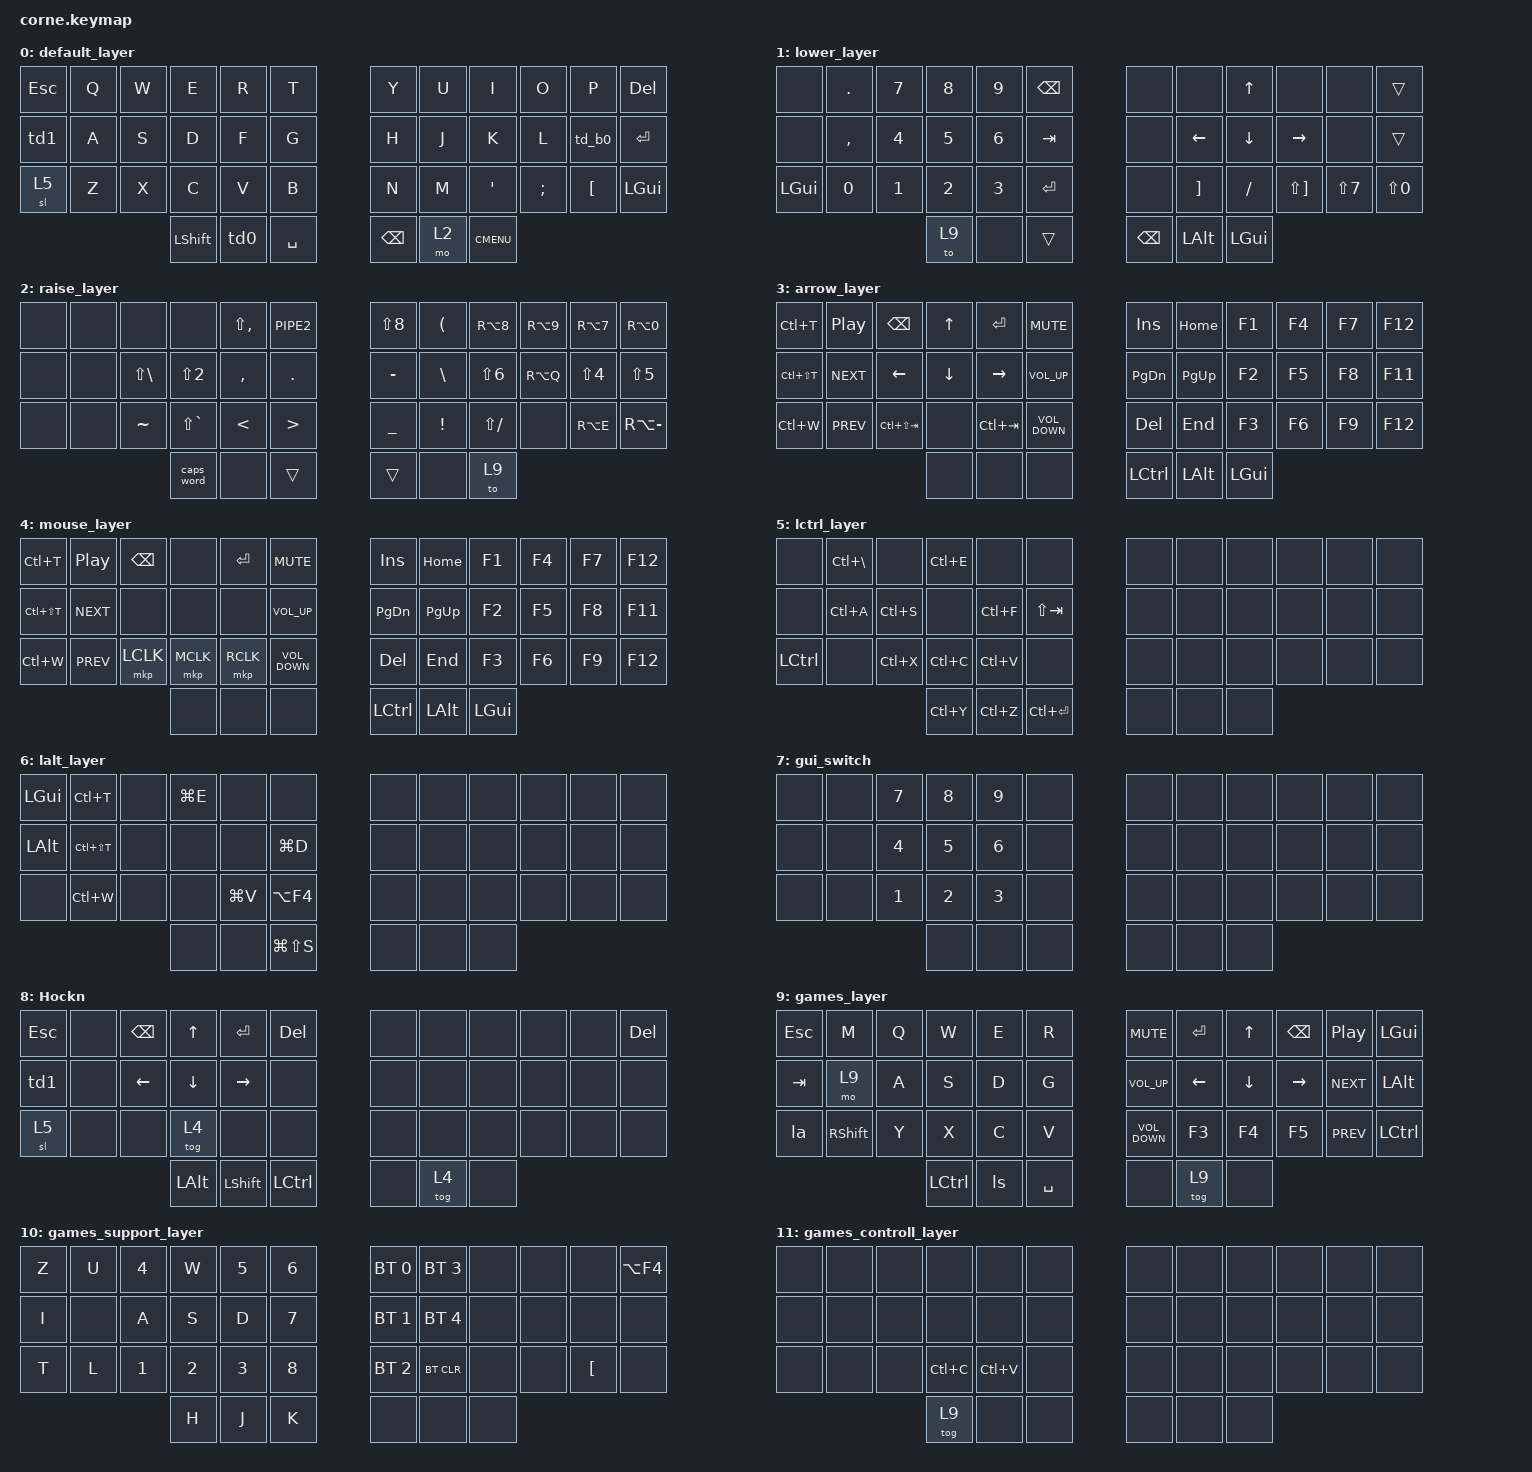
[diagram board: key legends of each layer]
#define default_layer		0
#define lower_layer		1
#define raise_layer		2
#define arrow_layer		3
#define mouse_layer		4
#define lctrl_layer		5
#define gui_switch		6
#define lalt_layer		7
#define hockn 			8
#define games_layer		9
#define games_support_layer	10
#define games_controll_layer	11

/*
 * Copyright (c) 2020 The ZMK Contributors
 *
 * SPDX-License-Identifier: MIT
 */

#include <behaviors.dtsi>
#include <dt-bindings/zmk/mouse.h>
#include <dt-bindings/zmk/bt.h>

// Ideen
// -----



// ---------------------------------------------------------------------------------------------------
// ---------------------------------------------------------------------------------------------------



&sl {
    release-after-ms = <200>;
};



// ---------------------------------------------------------------------------------------------------   



// ---------------------------------------------------------------------------------------------------
	
/ {
    macros {
        ws: window_swich_macro {
            compatible = "zmk,behavior-macro";
            #binding-cells = <0>;
            bindings =    <&macro_press &mo 7 &kp LGUI &kp ESC>
    			, <&macro_pause_for_release>
    			, <&macro_release &mo 7 &kp LGUI &kp ESC>;
        };

        la: layer_lalt_macro {
            compatible = "zmk,behavior-macro";
            #binding-cells = <0>;
            bindings =    <&macro_press &mo 11 &kp LALT>
    			, <&macro_pause_for_release>
    			, <&macro_release &mo 11 &kp LALT>;
        };

        ls: layer_lshift_macro {
            compatible = "zmk,behavior-macro";
            #binding-cells = <0>;
            bindings =    <&macro_press &mo 11 &kp LSHFT>
    			, <&macro_pause_for_release>
    			, <&macro_release &mo 11 &kp LSHFT>;
        };
     };
  };

// ---------------------------------------------------------------------------------------------------
// ---------------------------------------------------------------------------------------------------

/ {
    behaviors {
        td0: middle_button_0 {
            compatible = "zmk,behavior-tap-dance";
            #binding-cells = <0>;
            tapping-term-ms = <200>;
            bindings = <&mo 1>, <&mo 3>, <&to 8>;
        		  };

        td1: window_switch_lalt_1 {
            compatible = "zmk,behavior-tap-dance";
            #binding-cells = <0>;
            tapping-term-ms = <200>;
            bindings = <&ws>, <&sl 6>;
        		  };

        td_b0: swich_bluetooth0 {
            compatible = "zmk,behavior-tap-dance";
            #binding-cells = <0>;
            tapping-term-ms = <200>;
            bindings = <&bt BT_SEL 0>, <&bt BT_SEL 1>, <&bt BT_SEL 2>, <&bt BT_SEL 3>;
        			     };
     		};
  };

// ---------------------------------------------------------------------------------------------------
// ---------------------------------------------------------------------------------------------------

/ {
        
	keymap {
// 0
                compatible = "zmk,keymap";  

                default_layer {
// ---------------------------------------------------------------------------------------------------
// 	|  ESC |  Q  |  W  |  E  |   R  |  T  |   	|  Z   |  U   |  I  |  O  |  P  | DEL  |
// 	| SL 6 |  A  |  S  |  D  |   F  |  G  |   	|  H   |  J   |  K  |  L  | --- | RET  |
// 	| SL 8 |  Y  |  X  |  C  |   V  |  B  |   	|  N   |  M   |  Ä  |  Ö  |  Ü  | LGUI |
//                   	   |LSHFT| MO 1 | SPC |   	| BSPC | MO 2 | --- |

                        bindings = <
   &kp ESC		&kp Q			&kp W			&kp E			&kp R			&kp T				&kp Y			&kp U			&kp I			&kp O			&kp P			&kp DEL
   &td1			&kp A			&kp S			&kp D			&kp F			&kp G				&kp H			&kp J			&kp K			&kp L			&td_b0			&kp RET
   &sl 5		&kp Z			&kp X			&kp C			&kp V			&kp B				&kp N			&kp M			&kp SQT			&kp SEMI		&kp LBKT		&kp LGUI
									&kp LSHFT		&td0			&kp SPACE			&kp BSPC		&mo 2			&kp K_CMENU
			>;
                };
// ---------------------------------------------------------------------------------------------------

// 1
                lower_layer {
// ---------------------------------------------------------------------------------------------------
// 	  |  +  |   .  |  7  |  8  |   9  | BSPC |   	| Mute |  RET |  UP  | BSPC |PAUSE |  *  |
// 	  |  -  | LGUI |  4  |  5  |   6  | TAB  |  	| VOLU | LEFT | DOWN |RIGHT | NEXT |  /  |
// 	  |  ,  |  0   |  1  |  2  |   3  | RET  |   	| VOLD | ---- | ---- | ---- | PREV |  =  |
//   	          	     |LSHFT| MO 1 |trans |   	| trans| LALT | LCTRL|

                        bindings = <
   &none		&kp DOT			&kp N7			&kp N8			&kp N9			&kp BSPC			&none			&none			&kp UP			&none			&none			&trans
   &none		&kp COMMA		&kp N4			&kp N5			&kp N6			&kp TAB				&none			&kp LEFT		&kp DOWN		&kp RIGHT		&none			&trans
   &kp LGUI		&kp N0			&kp N1			&kp N2			&kp N3			&kp RET				&none			&kp RBKT		&kp SLASH		&kp LS(RBKT)		&kp LS(N7)		&kp LS(N0)       
									&to 9			&none			&trans				&kp BSPC		&kp LALT		&kp LGUI			
                        >;	
                };
// ---------------------------------------------------------------------------------------------------

// 2
                raise_layer {
// ---------------------------------------------------------------------------------------------------
// 	| --- | --- | --- | --- |  ;  |  >  |   	|  (  |  )   |  [  |  ]  |  {  |  }  |
// 	| --- | --- |  '  |  "  |  ,  |  .  |  	 	|  ß  |  #   |  &  |  @  |  $  |  %  |
// 	| --- | --- |  °  |  °  |  ;  |  :  |   	|  ?  |  &   |  _  |  °  |  €  |  \  |
//                   	  | --- | --- |trans|   	|trans| LALT |LCTRL|

                        bindings = <
   &none		&none			&none			&none			&kp LS(COMMA)		&kp PIPE2			&kp LS(N8)		&kp LEFT_PARENTHESIS	&kp RA(N8)		&kp RA(N9)		&kp RA(N7)		&kp RA(N0)       
   &none		&none      		&kp LS(BSLH)		&kp LS(N2)		&kp COMMA		&kp DOT				&kp MINUS		&kp BSLH		&kp LS(N6)		&kp RA(Q)		&kp LS(N4)		&kp LS(N5)
   &none		&none			&kp TILDE		&kp LS(GRAVE)		&kp LESS_THAN		&kp GREATER_THAN		&kp UNDER		&kp EXCL		&kp LS(SLASH)		&none			&kp RA(E)		&kp RA(MINUS) 
									&caps_word		&none			&trans				&trans			&none			&to 9
                        >;
                };
// ---------------------------------------------------------------------------------------------------

// 3
                arrow_layer {
// ---------------------------------------------------------------------------------------------------
// |  --- |  ---  |  ---  |  ---  |  ---  |  ---  |   |  ---  |  ---   |  ---  |  ---  |  ---  | --- |
// |  --- |  ---  |  ---  |  ---  |  ---  |  ---  |   |  ---  |  ---   |  ---  |  ---  |  ---  | --- |
// |  --- |  ---  |  ---  |  ---  |  ---  |  ---  |   |  ---  |  ---   |  ---  |  ---  |  ---  | --- |
//                        |  ---  |  ---  |  ---  |   |  ---  |  ---   |  ---  |

                        bindings = <
   &kp LC(T)		&kp C_PLAY_PAUSE	&kp BSPC		&kp UP			&kp RET			&kp C_MUTE			&kp INS			&kp HOME		&kp F1			&kp F4			&kp F7			&kp F12
   &kp LC(LS(T))	&kp C_NEXT		&kp LEFT		&kp DOWN		&kp RIGHT		&kp C_VOLUME_UP			&kp PAGE_DOWN		&kp PAGE_UP		&kp F2			&kp F5			&kp F8			&kp F11
   &kp LC(W)		&kp C_PREV		&kp LC(LS(TAB))		&none			&kp LC(TAB)		&kp C_VOLUME_DOWN		&kp DEL			&kp END			&kp F3			&kp F6			&kp F9			&kp F12
                                                			&none			&none			&none		       		&kp LCTRL		&kp LALT		&kp LGUI
                        >;
                };
// ---------------------------------------------------------------------------------------------------

// 4
                mouse_layer {
// ---------------------------------------------------------------------------------------------------
// |  --- |  ---  |  ---  |  ---  |  ---  |  ---  |   |  ---  |  ---   |  ---  |  ---  |  ---  | --- |
// |  --- |  ---  |  ---  |  ---  |  ---  |  ---  |   |  ---  |  ---   |  ---  |  ---  |  ---  | --- |
// |  --- |  ---  |  ---  |  ---  |  ---  |  ---  |   |  ---  |  ---   |  ---  |  ---  |  ---  | --- |
//                        |  ---  |  ---  |  ---  |   |  ---  |  ---   |  ---  |

                        bindings = <
   &kp LC(T)		&kp C_PLAY_PAUSE	&kp BSPC		&none			&kp RET			&kp C_MUTE			&kp INS			&kp HOME		&kp F1			&kp F4			&kp F7			&kp F12
   &kp LC(LS(T))	&kp C_NEXT		&none			&none			&none			&kp C_VOLUME_UP			&kp PAGE_DOWN		&kp PAGE_UP		&kp F2			&kp F5			&kp F8			&kp F11
   &kp LC(W)		&kp C_PREV		&mkp LCLK		&mkp MCLK		&mkp RCLK		&kp C_VOLUME_DOWN		&kp DEL			&kp END			&kp F3			&kp F6			&kp F9			&kp F12
                                                			&none			&none			&none		       		&kp LCTRL		&kp LALT		&kp LGUI
			>;
                };

// ---------------------------------------------------------------------------------------------------

// 5
                 lctrl_layer		{
// ---------------------------------------------------------------------------------------------------
// |   ---  |LC(BSLH) |   ---   |  LC(E)  |    ---    |   LC(T)   |   |  ---  |  ---   |  ---  |  ---  |  ---  | --- |
// |   ---  |  LC(A)  |  LC(S)  |   ---   |   LC(F)   | LC(LS(T)) |   |  ---  |  ---   |  ---  |  ---  |  ---  | --- |
// |  LCTRL |   ---   |  LC(X)  |  LC(C)  |   LC(V)   |   LC(W)   |   |  ---  |  ---   |  ---  |  ---  |  ---  | --- |
//                       	|  LC(Y)  |   LC(Z)   |  LC(RET)  |   |  ---  |  ---   |  ---  |

                        bindings = <
   &none		&kp LC(BSLH)		&none			&kp LC(E)		&none			&none				&none			&none			&none			&none			&none			&none
   &none		&kp LC(A)		&kp LC(S)		&none	 		&kp LC(F)		&kp LS(TAB)			&none			&none			&none			&none			&none			&none
   &kp LCTRL		&none			&kp LC(X)		&kp LC(C)		&kp LC(V)		&none				&none			&none			&none			&none			&none			&none
									&kp LC(Y)		&kp LC(Z)		&kp LC(RET)			&none			&none			&none
                        >;
                };
// ---------------------------------------------------------------------------------------------------

// 6
                 lalt_layer{
// ---------------------------------------------------------------------------------------------------
// |  --- |  ---  |  ---  |  ---  |  ---  |  ---  |   |  ---  |  ---   |  ---  |  ---  |  ---  | --- |
// |  --- |  ---  |  ---  |  ---  |  ---  |  ---  |   |  ---  |  ---   |  ---  |  ---  |  ---  | --- |
// |  --- |  ---  |  ---  |  ---  |  ---  |  ---  |   |  ---  |  ---   |  ---  |  ---  |  ---  | --- |
//                        |  ---  |  ---  |  ---  |   |  ---  |  ---   |  ---  |

                        bindings = <
   &kp LGUI		&kp LC(T)		&none			&kp LG(E)		&none			&none				&none			&none			&none			&none			&none			&none
   &kp LALT		&kp LC(LS(T))		&none			&none			&none			&kp LG(D)			&none			&none			&none			&none			&none			&none
   &none		&kp LC(W)		&none			&none			&kp LG(V)		&kp LA(F4)			&none			&none			&none			&none			&none			&none
									&none 			&none			&kp LG(LS(S))			&none			&none			&none
                        >;
                };
// ---------------------------------------------------------------------------------------------------

// 7
                 gui_switch{
// ---------------------------------------------------------------------------------------------------
// |  --- |  ---  |  ---  |  ---  |  ---  |  ---  |   |  ---  |  ---   |  ---  |  ---  |  ---  | --- |
// |  --- |  ---  |  ---  |  ---  |  ---  |  ---  |   |  ---  |  ---   |  ---  |  ---  |  ---  | --- |
// |  --- |  ---  |  ---  |  ---  |  ---  |  ---  |   |  ---  |  ---   |  ---  |  ---  |  ---  | --- |
//                        |  ---  |  ---  |  ---  |   |  ---  |  ---   |  ---  |

                        bindings = <
   &none		&none			&kp N7			&kp N8			&kp N9			&none				&none			&none			&none			&none			&none			&none
   &none		&none			&kp N4			&kp N5			&kp N6			&none				&none			&none			&none			&none			&none			&none
   &none		&none			&kp N1			&kp N2			&kp N3			&none				&none			&none			&none			&none			&none			&none
									&none			&none			&none				&none			&none			&none
                        >;
                };
// ---------------------------------------------------------------------------------------------------

// 8
                Hockn {
// ---------------------------------------------------------------------------------------------------
// |  --- |  ---  |  ---  |  ---  |  ---  |  ---  |   |  ---  |  ---   |  ---  |  ---  |  ---  | --- |
// |  --- |  ---  |  ---  |  ---  |  ---  |  ---  |   |  ---  |  ---   |  ---  |  ---  |  ---  | --- |
// |  --- |  ---  |  ---  |  ---  |  ---  |  ---  |   |  ---  |  ---   |  ---  |  ---  |  ---  | --- |
//                        |  ---  |  ---  |  ---  |   |  ---  |  ---   |  ---  |

                        bindings = <
   &kp ESC		&none			&kp BSPC		&kp UP			&kp RET			&kp DEL				&none			&none			&none			&none			&none			&kp DEL
   &td1			&none			&kp LEFT		&kp DOWN		&kp RIGHT		&none				&none			&none			&none			&none			&none			&none
   &sl 5		&none			&none			&tog 4			&none			&none				&none			&none			&none			&none			&none			&none
                                                			&kp LALT		&kp LSHFT		&kp LCTRL	       		&none			&tog 4			&none
			>;
                };

// ------------------------------------------------------------------------------------------------------------------------------------------------------------------------------------------------------
// ------------------------------------------------------------------------------------------------------------------------------------------------------------------------------------------------------
// ------------------------------------------------------------------------------------------------------------------------------------------------------------------------------------------------------
// ------------------------------------------------------------------------------------------------------------------------------------------------------------------------------------------------------
// ------------------------------------------------------------------------------------------------------------------------------------------------------------------------------------------------------

// 9
                 games_layer {
// ---------------------------------------------------------------------------------------------------
// |  --- |  ---  |  ---  |  ---  |  ---  |  ---  |   |  ---  |  ---   |  ---  |  ---  |  ---  | --- |
// |  --- |  ---  |  ---  |  ---  |  ---  |  ---  |   |  ---  |  ---   |  ---  |  ---  |  ---  | --- |
// |  --- |  ---  |  ---  |  ---  |  ---  |  ---  |   |  ---  |  ---   |  ---  |  ---  |  ---  | --- |
//                        |  ---  |  ---  |  ---  |   |  ---  |  ---   |  ---  |

                        bindings = <
   &kp ESC		&kp M			&kp Q			&kp W			&kp E			&kp R				&kp C_MUTE  		&kp RET			&kp UP			&kp BSPC		&kp C_PLAY_PAUSE	&kp LGUI
   &kp TAB		&mo 9			&kp A			&kp S			&kp D			&kp G				&kp C_VOLUME_UP 	&kp LEFT		&kp DOWN		&kp RIGHT		&kp C_NEXT		&kp LALT
   &la			&kp RSHFT		&kp Y			&kp X			&kp C			&kp V				&kp C_VOLUME_DOWN 	&kp F3			&kp F4			&kp F5			&kp C_PREV		&kp LCTRL
									&kp LCTRL		&ls			&kp SPACE			&none			&tog 9			&none
                        >;
                };
// ---------------------------------------------------------------------------------------------------

// 10
                 games_support_layer {
// ---------------------------------------------------------------------------------------------------
// |  --- |  ---  |  ---  |  ---  |  ---  |  ---  |   |  ---  |  ---   |  ---  |  ---  |  ---  | --- |
// |  --- |  ---  |  ---  |  ---  |  ---  |  ---  |   |  ---  |  ---   |  ---  |  ---  |  ---  | --- |
// |  --- |  ---  |  ---  |  ---  |  ---  |  ---  |   |  ---  |  ---   |  ---  |  ---  |  ---  | --- |
//                        |  ---  |  ---  |  ---  |   |  ---  |  ---   |  ---  |

                        bindings = <
   &kp Z		&kp U			&kp N4			&kp W			&kp N5			&kp N6				&bt BT_SEL 0		&bt BT_SEL 3		&none			&none			&none			&kp LA(F4)
   &kp I		&none			&kp A			&kp S			&kp D			&kp N7				&bt BT_SEL 1		&bt BT_SEL 4		&none			&none			&none			&none
   &kp T		&kp L			&kp N1			&kp N2			&kp N3			&kp N8				&bt BT_SEL 2		&bt BT_CLR		&none			&none			&kp LBKT		&none 
									&kp H 			&kp J			&kp K				&none			&none 			&none
                        >;
                };
// ---------------------------------------------------------------------------------------------------

// 11
                 games_controll_layer {
// ---------------------------------------------------------------------------------------------------
// |  --- |  ---  |  ---  |  ---  |  ---  |  ---  |   |  ---  |  ---   |  ---  |  ---  |  ---  | --- |
// |  --- |  ---  |  ---  |  ---  |  ---  |  ---  |   |  ---  |  ---   |  ---  |  ---  |  ---  | --- |
// |  --- |  ---  |  ---  |  ---  |  ---  |  ---  |   |  ---  |  ---   |  ---  |  ---  |  ---  | --- |
//                        |  ---  |  ---  |  ---  |   |  ---  |  ---   |  ---  |

                        bindings = <
   &none		&none			&none			&none			&none			&none				&none			&none			&none			&none			&none			&none
   &none		&none			&none			&none	 		&none			&none				&none			&none			&none			&none			&none			&none
   &none		&none			&none			&kp LC(C)		&kp LC(V)		&none				&none			&none			&none			&none			&none			&none
									&tog 9			&none			&none				&none			&none			&none
                        >;
                };

// ---------------------------------------------------------------------------------------------------

        };
};




